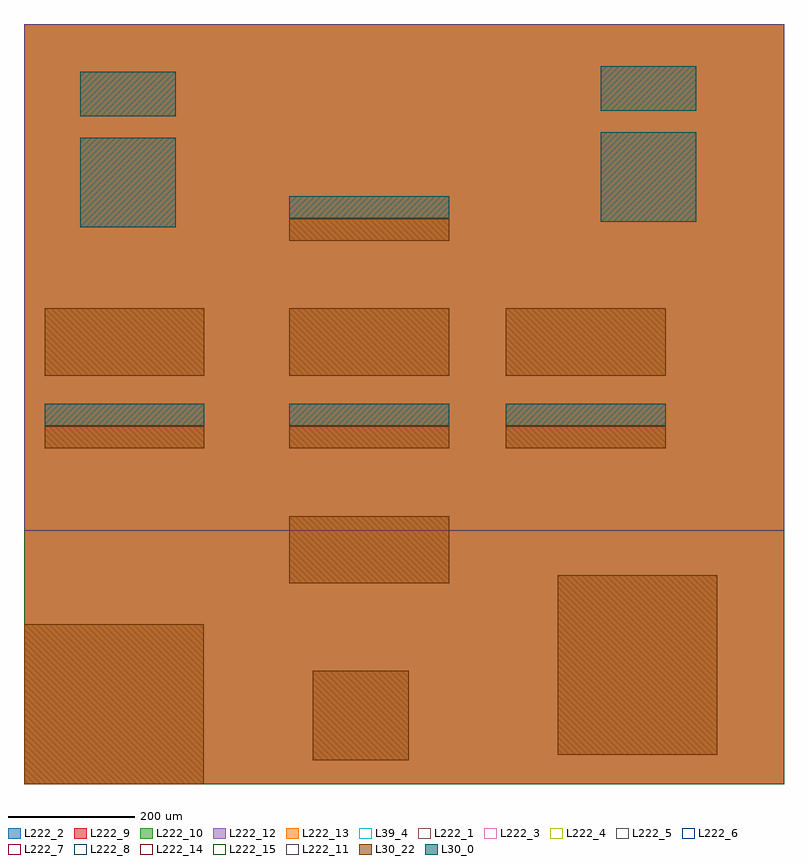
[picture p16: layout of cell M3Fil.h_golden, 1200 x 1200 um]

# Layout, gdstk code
import gdstk
lib = gdstk.Library(unit=1e-6, precision=1e-09)
def R(c, l, rs):  # rectangles x0, y0, x1, y1
    for r in rs: c.add(gdstk.rectangle(r[:2], r[2:], *l))
def A(c, l, x, y, w, h, nx, ny, dx, dy):  # array of equal rectangles
    R(c, l, [(x+i*dx, y+j*dy, x+i*dx+w, y+j*dy+h) for i in range(nx) for j in range(ny)])
L30_0 = (30, 0)
L30_22 = (30, 22)
L39_4 = (39, 4)
L222_1 = (222, 1)
L222_2 = (222, 2)
L222_3 = (222, 3)
L222_4 = (222, 4)
L222_5 = (222, 5)
L222_6 = (222, 6)
L222_7 = (222, 7)
L222_8 = (222, 8)
L222_9 = (222, 9)
L222_10 = (222, 10)
L222_11 = (222, 11)
L222_12 = (222, 12)
L222_13 = (222, 13)
L222_14 = (222, 14)
L222_15 = (222, 15)

m3fil_h_golden = lib.new_cell('M3Fil.h_golden')
A(m3fil_h_golden, L30_0, 32.975, 565.64, 50, 35, 5, 1, 50.5, 0)
A(m3fil_h_golden, L30_0, 419.065, 565.64, 50, 35, 5, 2, 50.5, 327.725)
A(m3fil_h_golden, L30_0, 760.905, 565.64, 50, 35, 5, 1, 50.5, 0)
A(m3fil_h_golden, L30_0, 88.995, 879.115, 50, 35, 3, 4, 50.5, 35.5)
A(m3fil_h_golden, L30_0, 910.625, 887.55, 50, 35, 3, 4, 50.5, 35.5)
A(m3fil_h_golden, L30_0, 88.995, 1054.34, 50, 35, 3, 2, 50.5, 35.5)
A(m3fil_h_golden, L30_0, 910.625, 1062.775, 50, 35, 3, 2, 50.5, 35.5)
A(m3fil_h_golden, L30_22, 0, 0, 35, 50, 8, 5, 35.5, 50.5)
A(m3fil_h_golden, L30_22, 456.17, 37.335, 50, 35, 3, 4, 50.5, 35.5)
A(m3fil_h_golden, L30_22, 842.445, 46.18, 50, 35, 5, 8, 50.5, 35.5)
A(m3fil_h_golden, L30_22, 419.065, 317.14, 50, 35, 5, 3, 50.5, 35.5)
A(m3fil_h_golden, L30_22, 32.975, 530.14, 50, 35, 5, 2, 50.5, 114.725)
A(m3fil_h_golden, L30_22, 419.065, 530.14, 50, 35, 5, 2, 50.5, 114.725)
A(m3fil_h_golden, L30_22, 760.905, 530.14, 50, 35, 5, 2, 50.5, 114.725)
A(m3fil_h_golden, L30_22, 32.975, 680.365, 50, 35, 5, 2, 50.5, 35.5)
A(m3fil_h_golden, L30_22, 419.065, 680.365, 50, 35, 5, 2, 50.5, 35.5)
A(m3fil_h_golden, L30_22, 760.905, 680.365, 50, 35, 5, 2, 50.5, 35.5)
A(m3fil_h_golden, L30_22, 419.065, 857.865, 50, 35, 5, 1, 50.5, 0)
R(m3fil_h_golden, L39_4, [(0,0,1200,1200)])
R(m3fil_h_golden, L222_1, [(0,0,1200,1200)])
R(m3fil_h_golden, L222_2, [(0,0,800,800), (400,0,1200,800), (0,400,800,1200), (400,400,1200,1200)])
R(m3fil_h_golden, L222_3, [(0,0,1200,1200)])
R(m3fil_h_golden, L222_4, [(0,0,1200,1200)])
R(m3fil_h_golden, L222_5, [(0,0,1200,1200)])
R(m3fil_h_golden, L222_6, [(0,0,1200,1200)])
R(m3fil_h_golden, L222_7, [(0,0,1200,1200)])
R(m3fil_h_golden, L222_8, [(0,0,1200,1200)])
R(m3fil_h_golden, L222_9, [(0,0,800,800), (400,0,1200,800), (0,400,800,1200), (400,400,1200,1200)])
R(m3fil_h_golden, L222_10, [(0,0,800,800), (400,0,1200,800), (0,400,800,1200), (400,400,1200,1200)])
R(m3fil_h_golden, L222_11, [(0,400,800,1200), (400,400,1200,1200)])
R(m3fil_h_golden, L222_12, [(0,0,800,800), (400,0,1200,800), (0,400,800,1200), (400,400,1200,1200)])
R(m3fil_h_golden, L222_13, [(0,0,800,800), (400,0,1200,800), (0,400,800,1200), (400,400,1200,1200)])
R(m3fil_h_golden, L222_14, [(0,0,1200,1200)])
R(m3fil_h_golden, L222_15, [(0,0,1200,1200)])

lib.write_gds('M3Fil.h_golden.gds')
